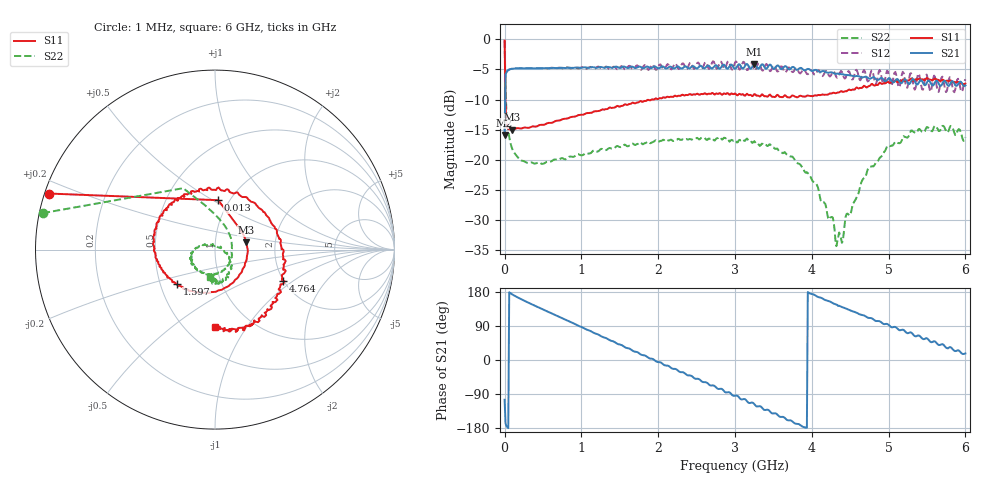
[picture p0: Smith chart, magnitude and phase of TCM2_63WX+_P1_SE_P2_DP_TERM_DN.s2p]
# GHZ S DB R 50.000000000000
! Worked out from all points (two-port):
!   501 points, 1 MHz to 6 GHz, reference 50 ohm
!   highest |S21| = -4.08 dB at 3.252 GHz (marker M1); lowest = -15.9 dB at 1 MHz (marker M2)
!   |S21| within 3 dB of the highest: 11.53 MHz to 5.051 GHz (5.039 GHz wide, 199 % of centre); 5.076 GHz to 5.146 GHz (70.06 MHz wide, 1.37 % of centre)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
!   lowest |S11| = -15.0 dB at 96.98 MHz (marker M3), VSWR 1.43, Z = 70.7 + j5.89 ohm
!   |S11| at or under -10 dB: 11.7 MHz to 1.916 GHz (1.905 GHz wide, 198 % of centre); 1.936243 GHz to 1.945473 GHz (9.23 MHz wide, 0.476 % of centre)
!   |S22| runs from -34.4 to -0.2 dB; largest |S21 - S12| = 0.097
!   S11 on the Smith chart (normalised r, x): 1 MHz: 0.01, +0.16; 13 MHz: 0.89, +0.53; 1.597 GHz: 0.61, -0.25; 4.764 GHz: 1.99, -0.83; 6 GHz: 0.69, -0.72
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0.001  -0.19 161.4  -15.91 -104.8  -15.72 -107.3  -0.17 168.0
0.012998  -11.19 86.2  -5.85 -167.1  -5.84 -167.0  -8.28 117.4
0.036994  -14.69 47.8  -5.23 -177.4  -5.22 -177.2  -13.85 92.2
0.096984  -15.00 13.1  -4.89 173.4  -4.88 173.5  -18.09 54.0
0.276954  -14.66 -20.0  -4.80 154.4  -4.79 154.6  -20.42 9.3
0.612898  -13.88 -56.1  -4.76 123.1  -4.70 122.9  -20.24 -15.9
1.008832  -12.52 -93.4  -4.70 86.6  -4.60 86.6  -19.28 -42.9
1.596734  -10.89 -137.9  -4.74 31.4  -4.74 34.7  -17.77 -81.1
2.004666  -9.88 -164.4  -4.82 -5.5  -4.48 -1.1  -17.04 -104.4
2.532578  -9.20 160.0  -4.54 -50.5  -4.02 -54.8  -16.63 -135.0
3.0005  -8.99 128.9  -4.90 -94.2  -3.85 -92.5  -16.71 -154.9
3.252458  -9.09 112.1  -4.08 -116.7  -5.04 -121.3  -16.92 -161.7
3.66039  -9.35 77.2  -4.44 -155.2  -5.47 -154.7  -18.92 177.5
4.008332  -9.45 43.9  -5.23 173.8  -5.30 172.3  -23.53 155.8
4.26029  -8.98 19.1  -5.48 151.4  -5.73 156.8  -29.53 110.3
4.332278  -8.85 11.3  -5.68 145.3  -6.40 148.3  -33.63 71.5
4.392268  -8.63 7.1  -5.78 139.8  -5.37 140.6  -33.83 57.1
4.452258  -8.62 0.3  -5.91 135.2  -6.00 142.5  -29.04 24.4
4.764206  -7.62 -24.5  -6.52 110.8  -5.67 117.4  -21.19 -22.8
5.004166  -7.18 -42.3  -6.45 92.2  -6.06 84.1  -17.71 -45.1
5.604066  -6.50 -75.8  -7.13 49.0  -6.26 40.0  -14.36 -84.7
6  -7.34 -90.3  -7.66 17.2  -6.63 15.6  -16.25 -100.2
